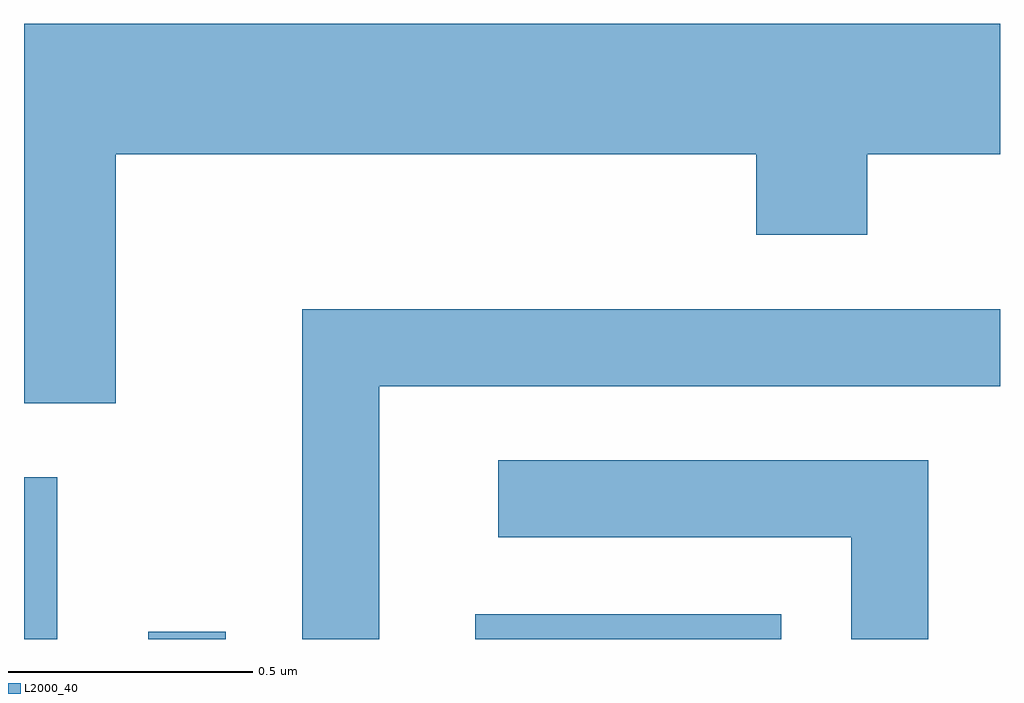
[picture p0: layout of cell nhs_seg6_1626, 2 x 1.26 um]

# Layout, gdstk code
import gdstk
lib = gdstk.Library(unit=1e-6, precision=1e-09)
def R(c, l, rs):  # rectangles x0, y0, x1, y1
    for r in rs: c.add(gdstk.rectangle(r[:2], r[2:], *l))
def P(c, l, *ps):  # polygons
    for p in ps: c.add(gdstk.Polygon(p, *l))
L2000_40 = (2000, 40)

nhs_seg6_1626 = lib.new_cell('nhs_seg6_1626')
R(nhs_seg6_1626, L2000_40, [(196.611,1651.162,196.679,1651.494), (196.866,1651.162,197.024,1651.178), (197.536,1651.162,198.163,1651.214)])
P(nhs_seg6_1626, L2000_40, [(196.799,1652.156),(198.111,1652.156),(198.111,1651.991),(198.339,1651.991),(198.339,1652.156),(198.611,1652.156),(198.611,1652.424),(196.611,1652.424),(196.611,1651.646),(196.799,1651.646)],
  [(197.339,1651.681),(198.611,1651.681),(198.611,1651.839),(197.181,1651.839),(197.181,1651.162),(197.339,1651.162)],
  [(198.464,1651.529),(197.583,1651.529),(197.583,1651.371),(198.306,1651.371),(198.306,1651.162),(198.464,1651.162)])

lib.write_gds('nhs_seg6_1626.gds')
